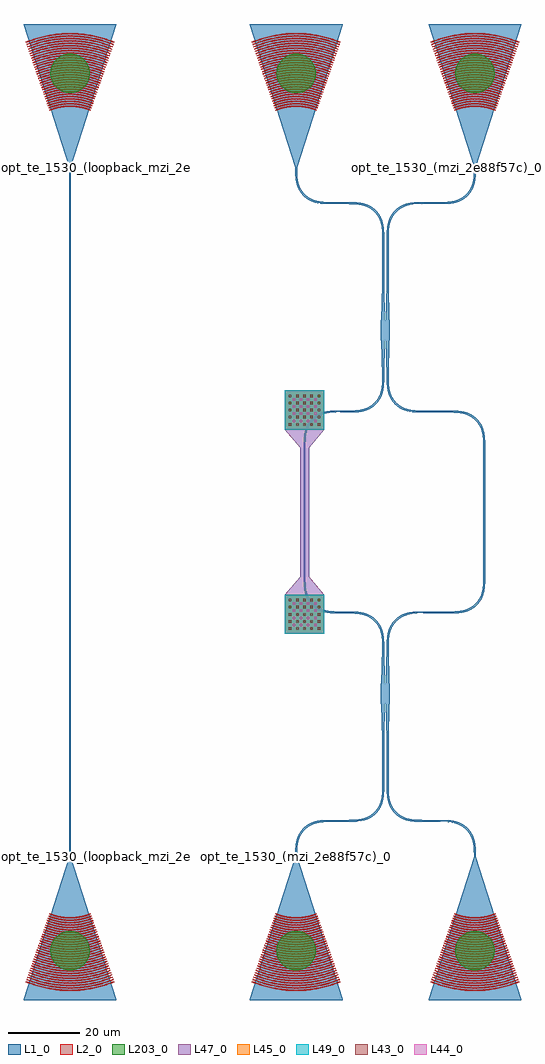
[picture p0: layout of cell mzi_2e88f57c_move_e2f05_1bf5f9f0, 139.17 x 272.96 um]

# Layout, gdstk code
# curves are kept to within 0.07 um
from math import pi, radians
import gdstk
lib = gdstk.Library(unit=1e-6, precision=1e-09)
def R(c, l, rs):  # rectangles x0, y0, x1, y1
    for r in rs: c.add(gdstk.rectangle(r[:2], r[2:], *l))
def P(c, l, *ps):  # polygons
    for p in ps: c.add(gdstk.Polygon(p, *l))
L1_0 = (1, 0)
L2_0 = (2, 0)
L43_0 = (43, 0)
L44_0 = (44, 0)
L45_0 = (45, 0)
L47_0 = (47, 0)
L49_0 = (49, 0)
L203_0 = (203, 0)

mmi2x2 = lib.new_cell('mmi2x2')
R(mmi2x2, L1_0, [(0,-1.25,5.5,1.25)])
P(mmi2x2, L1_0, [(-10,-0.375),(0,-0.125),(0,-1.125),(-10,-0.875)],
  [(-10,0.875),(0,1.125),(0,0.125),(-10,0.375)],
  [(15.5,0.375),(5.5,0.125),(5.5,1.125),(15.5,0.875)],
  [(15.5,-0.875),(5.5,-1.125),(5.5,-0.125),(15.5,-0.375)])

bend_euler_9e0718a0 = lib.new_cell('bend_euler_9e0718a0')
P(bend_euler_9e0718a0, L1_0, [(0,-0.25),(2.724,-0.165),(3.761,-0.026),(4.739,0.201),(5.691,0.544),(6.428,0.918),(7.158,1.402),(7.859,2.003),(8.479,2.689),(9.033,3.488),(9.456,4.309),(9.799,5.261),(10.026,6.239),(10.165,7.276),(10.25,10),(9.75,10),(9.634,7.004),(9.463,5.971),(9.18,4.971),(8.508,3.59),(7.575,2.425),(6.41,1.492),(5.029,0.82),(4.029,0.537),(2.996,0.366),(0,0.25)])

straight_a4be237b = lib.new_cell('straight_a4be237b')
R(straight_a4be237b, L1_0, [(0,-0.25,7,0.25)])

straight_6870e926 = lib.new_cell('straight_6870e926')
R(straight_6870e926, L1_0, [(0,-0.25,0.1,0.25)])

straight_fba69bc3 = lib.new_cell('straight_fba69bc3')
R(straight_fba69bc3, L1_0, [(0,-0.25,2,0.25)])

straight_1aa74c1c = lib.new_cell('straight_1aa74c1c')
R(straight_1aa74c1c, L1_0, [(0,-0.25,18.05,0.25)])
R(straight_1aa74c1c, L47_0, [(0,-1.25,18.05,1.25)])

component_sequence_45111 = lib.new_cell('component_sequence_45111566')
component_sequence_45111.add(gdstk.Reference(straight_1aa74c1c, (0,0)))
component_sequence_45111.add(gdstk.Reference(straight_1aa74c1c, (18.05,0)))

compass_8277d85c = lib.new_cell('compass_8277d85c')
R(compass_8277d85c, L47_0, [(-5.5,-5.5,5.5,5.5)])

compass_6419de30 = lib.new_cell('compass_6419de30')
R(compass_6419de30, L45_0, [(-5.5,-5.5,5.5,5.5)])

compass_0253aeff = lib.new_cell('compass_0253aeff')
R(compass_0253aeff, L49_0, [(-5.5,-5.5,5.5,5.5)])

via_ebd8e362 = lib.new_cell('via_ebd8e362')
R(via_ebd8e362, L44_0, [(-0.35,-0.35,0.35,0.35)])

via_fd13653e = lib.new_cell('via_fd13653e')
R(via_fd13653e, L43_0, [(-0.35,-0.35,0.35,0.35)])

via_stack_02e7e014 = lib.new_cell('via_stack_02e7e014')
via_stack_02e7e014.add(gdstk.Reference(compass_8277d85c, (0,0)))
via_stack_02e7e014.add(gdstk.Reference(compass_6419de30, (0,0)))
via_stack_02e7e014.add(gdstk.Reference(compass_0253aeff, (0,0)))
r = gdstk.Reference(via_ebd8e362, (-3,-3)); r.repetition = gdstk.Repetition(4, 4, v1=(2,0), v2=(0,2)); via_stack_02e7e014.add(r)
r = gdstk.Reference(via_fd13653e, (-4,-4)); r.repetition = gdstk.Repetition(5, 5, v1=(2,0), v2=(0,2)); via_stack_02e7e014.add(r)

taper_13d39a01 = lib.new_cell('taper_13d39a01')
P(taper_13d39a01, L47_0, [(0,5.5),(5,1.25),(5,-1.25),(0,-5.5)])

straight_heater_metal_u_ = lib.new_cell('straight_heater_metal_u_f37dff5c')
straight_heater_metal_u_.add(gdstk.Reference(component_sequence_45111, (0,0)))
straight_heater_metal_u_.add(gdstk.Reference(via_stack_02e7e014, (-10.5,0)))
straight_heater_metal_u_.add(gdstk.Reference(via_stack_02e7e014, (46.6,0)))
straight_heater_metal_u_.add(gdstk.Reference(taper_13d39a01, (-5,0)))
straight_heater_metal_u_.add(gdstk.Reference(taper_13d39a01, (41.1,0), rotation=pi))

straight_fa3a3f2f = lib.new_cell('straight_fa3a3f2f')
R(straight_fa3a3f2f, L1_0, [(0,-0.25,0.09,0.25)])

straight_c804d8bd = lib.new_cell('straight_c804d8bd')
R(straight_c804d8bd, L1_0, [(0,-0.25,2,0.25)])

straight_4ae164bc = lib.new_cell('straight_4ae164bc')
R(straight_4ae164bc, L1_0, [(0,-0.25,0.01,0.25)])

straight_d494dd99 = lib.new_cell('straight_d494dd99')
R(straight_d494dd99, L1_0, [(0,-0.25,36.09,0.25)])

straight_32d14105 = lib.new_cell('straight_32d14105')
R(straight_32d14105, L1_0, [(0,-0.25,7,0.25)])

mzi_2e88f57c = lib.new_cell('mzi_2e88f57c')
mzi_2e88f57c.add(gdstk.Reference(mmi2x2, (0,0)))
mzi_2e88f57c.add(gdstk.Reference(mmi2x2, (107.2,0), rotation=pi, x_reflection=True))
mzi_2e88f57c.add(gdstk.Reference(bend_euler_9e0718a0, (15.5,-0.625), x_reflection=True))
mzi_2e88f57c.add(gdstk.Reference(straight_a4be237b, (25.5,-10.625), rotation=3*pi/2))
mzi_2e88f57c.add(gdstk.Reference(bend_euler_9e0718a0, (25.5,-17.625), rotation=3*pi/2))
mzi_2e88f57c.add(gdstk.Reference(straight_6870e926, (35.5,-27.625)))
mzi_2e88f57c.add(gdstk.Reference(bend_euler_9e0718a0, (15.5,0.625)))
mzi_2e88f57c.add(gdstk.Reference(straight_fba69bc3, (25.5,10.625), rotation=pi/2))
mzi_2e88f57c.add(gdstk.Reference(bend_euler_9e0718a0, (35.5,22.625), rotation=pi))
mzi_2e88f57c.add(gdstk.Reference(straight_heater_metal_u_, (35.5,22.625)))
mzi_2e88f57c.add(gdstk.Reference(bend_euler_9e0718a0, (71.69,22.625), x_reflection=True))
mzi_2e88f57c.add(gdstk.Reference(bend_euler_9e0718a0, (81.69,10.625), rotation=3*pi/2))
mzi_2e88f57c.add(gdstk.Reference(straight_fa3a3f2f, (71.6,22.625)))
mzi_2e88f57c.add(gdstk.Reference(straight_c804d8bd, (81.69,12.625), rotation=3*pi/2))
mzi_2e88f57c.add(gdstk.Reference(straight_4ae164bc, (91.69,0.625)))
mzi_2e88f57c.add(gdstk.Reference(bend_euler_9e0718a0, (71.69,-27.625)))
mzi_2e88f57c.add(gdstk.Reference(bend_euler_9e0718a0, (81.69,-10.625), rotation=pi/2, x_reflection=True))
mzi_2e88f57c.add(gdstk.Reference(straight_d494dd99, (35.6,-27.625)))
mzi_2e88f57c.add(gdstk.Reference(straight_32d14105, (81.69,-17.625), rotation=pi/2))
mzi_2e88f57c.add(gdstk.Reference(straight_4ae164bc, (91.69,-0.625)))

mzi_2e88f57c_move_e2f053 = lib.new_cell('mzi_2e88f57c_move_e2f053e4')
mzi_2e88f57c_move_e2f053.add(gdstk.Reference(mzi_2e88f57c, (10,0.625)))

bend_euler = lib.new_cell('bend_euler')
P(bend_euler, L1_0, [(0,-0.25),(2.724,-0.165),(3.761,-0.026),(4.739,0.201),(5.691,0.544),(6.428,0.918),(7.158,1.402),(7.859,2.003),(8.479,2.689),(9.033,3.488),(9.456,4.309),(9.799,5.261),(10.026,6.239),(10.165,7.276),(10.25,10),(9.75,10),(9.634,7.004),(9.463,5.971),(9.18,4.971),(8.508,3.59),(7.575,2.425),(6.41,1.492),(5.029,0.82),(4.029,0.537),(2.996,0.366),(0,0.25)])

straight_0b9e1014 = lib.new_cell('straight_0b9e1014')
R(straight_0b9e1014, L1_0, [(0,-0.25,12.79,0.25)])

straight_9720d94c = lib.new_cell('straight_9720d94c')
R(straight_9720d94c, L1_0, [(0,-0.25,4.35,0.25)])

straight_1c2065ee = lib.new_cell('straight_1c2065ee')
R(straight_1c2065ee, L1_0, [(0,-0.25,0.01,0.25)])

straight_7f2b6b1a = lib.new_cell('straight_7f2b6b1a')
R(straight_7f2b6b1a, L1_0, [(0,-0.25,4.4,0.25)])

circle_925ccccf = lib.new_cell('circle_925ccccf')
P(circle_925ccccf, L203_0, [(5.5,0),(5.37,1.19),(5.081,2.105),(4.639,2.955),(3.889,3.889),(2.955,4.639),(2.105,5.081),(1.19,5.37),(0,5.5),(-1.19,5.37),(-2.105,5.081),(-2.955,4.639),(-3.889,3.889),(-4.639,2.955),(-5.081,2.105),(-5.37,1.19),(-5.5,0),(-5.37,-1.19),(-5.081,-2.105),(-4.639,-2.955),(-3.889,-3.889),(-2.955,-4.639),(-2.105,-5.081),(-1.19,-5.37),(0,-5.5),(1.19,-5.37),(2.105,-5.081),(2.955,-4.639),(3.889,-3.889),(4.639,-2.955),(5.081,-2.105),(5.37,-1.19)])

grating_coupler_ellipti_ = lib.new_cell('grating_coupler_ellipti_db285fcb')
P(grating_coupler_ellipti_, L1_0, [(0.471,-0.25),(0.471,0.25),(40.352,12.973),(40.552,12.973),(40.552,-12.973),(40.352,-12.973)])
P(grating_coupler_ellipti_, L2_0, [(16.414,-5.811),(16.301,-5.646),(16.82,-4.153),(17.178,-2.617),(17.352,-1.313),(17.409,0),(17.352,1.313),(17.178,2.617),(16.82,4.153),(16.301,5.646),(16.414,5.811),(16.61,5.769),(16.709,5.52),(17.063,4.504),(17.344,3.465),(17.627,1.877),(17.743,0),(17.627,-1.877),(17.344,-3.465),(17.063,-4.504),(16.709,-5.52),(16.61,-5.769)],
  [(17.047,-6.03),(16.933,-5.865),(17.473,-4.315),(17.845,-2.718),(18.025,-1.364),(18.085,0),(18.025,1.364),(17.845,2.718),(17.473,4.315),(16.933,5.865),(17.047,6.03),(17.243,5.989),(17.346,5.73),(17.713,4.675),(18.066,3.325),(18.33,1.671),(18.419,0),(18.33,-1.671),(18.066,-3.325),(17.713,-4.675),(17.346,-5.73),(17.243,-5.989)],
  [(17.68,-6.25),(17.566,-6.085),(18.126,-4.476),(18.512,-2.82),(18.699,-1.415),(18.761,0),(18.699,1.415),(18.512,2.82),(18.126,4.476),(17.566,6.085),(17.68,6.25),(17.876,6.208),(17.982,5.94),(18.363,4.846),(18.665,3.729),(18.97,2.02),(19.095,0),(18.97,-2.02),(18.665,-3.729),(18.363,-4.846),(17.982,-5.94),(17.876,-6.208)],
  [(18.313,-6.469),(18.199,-6.305),(18.779,-4.638),(19.179,-2.922),(19.373,-1.466),(19.437,0),(19.373,1.466),(19.179,2.922),(18.779,4.638),(18.199,6.305),(18.313,6.469),(18.509,6.428),(18.619,6.15),(19.013,5.018),(19.326,3.861),(19.676,1.794),(19.771,0),(19.676,-1.794),(19.326,-3.861),(19.013,-5.018),(18.619,-6.15),(18.509,-6.428)],
  [(18.946,-6.689),(18.832,-6.524),(19.432,-4.799),(19.846,-3.024),(20.047,-1.518),(20.113,0),(20.047,1.518),(19.846,3.024),(19.432,4.799),(18.832,6.524),(18.946,6.689),(19.141,6.647),(19.365,6.07),(19.752,4.892),(20.055,3.69),(20.348,1.855),(20.447,0),(20.348,-1.855),(20.055,-3.69),(19.752,-4.892),(19.365,-6.07),(19.141,-6.647)],
  [(19.579,-6.908),(19.465,-6.744),(20.085,-4.961),(20.513,-3.125),(20.72,-1.569),(20.789,0),(20.72,1.569),(20.513,3.125),(20.085,4.961),(19.465,6.744),(19.579,6.908),(19.774,6.867),(20.006,6.271),(20.405,5.054),(20.718,3.812),(21.021,1.916),(21.123,0),(21.021,-1.916),(20.718,-3.812),(20.405,-5.054),(20.006,-6.271),(19.774,-6.867)],
  [(20.212,-7.128),(20.098,-6.963),(20.738,-5.122),(21.18,-3.227),(21.394,-1.62),(21.465,0),(21.394,1.62),(21.18,3.227),(20.738,5.122),(20.098,6.963),(20.212,7.128),(20.407,7.086),(20.646,6.471),(21.058,5.215),(21.381,3.934),(21.694,1.978),(21.799,0),(21.694,-1.978),(21.381,-3.934),(21.058,-5.215),(20.646,-6.471),(20.407,-7.086)],
  [(20.844,-7.347),(20.731,-7.183),(21.391,-5.284),(21.847,-3.329),(22.068,-1.671),(22.141,0),(22.068,1.671),(21.847,3.329),(21.391,5.284),(20.731,7.183),(20.844,7.347),(21.04,7.306),(21.286,6.671),(21.711,5.377),(22.044,4.056),(22.367,2.039),(22.475,0),(22.367,-2.039),(22.044,-4.056),(21.711,-5.377),(21.286,-6.671),(21.04,-7.306)],
  [(21.477,-7.567),(21.364,-7.402),(22.044,-5.445),(22.514,-3.431),(22.742,-1.722),(22.817,0),(22.742,1.722),(22.514,3.431),(22.044,5.445),(21.364,7.402),(21.477,7.567),(21.673,7.525),(21.926,6.872),(22.364,5.538),(22.707,4.177),(23.039,2.1),(23.151,0),(23.039,-2.1),(22.707,-4.177),(22.364,-5.538),(21.926,-6.872),(21.673,-7.525)],
  [(22.11,-7.786),(21.997,-7.622),(22.697,-5.607),(23.181,-3.532),(23.415,-1.773),(23.493,0),(23.415,1.773),(23.181,3.532),(22.697,5.607),(21.997,7.622),(22.11,7.786),(22.306,7.745),(22.567,7.072),(23.017,5.7),(23.37,4.299),(23.712,2.161),(23.827,0),(23.712,-2.161),(23.37,-4.299),(23.017,-5.7),(22.567,-7.072),(22.306,-7.745)],
  [(22.743,-8.006),(22.629,-7.841),(23.35,-5.769),(23.848,-3.634),(24.089,-1.824),(24.169,0),(24.089,1.824),(23.848,3.634),(23.35,5.769),(22.629,7.841),(22.743,8.006),(22.939,7.964),(23.207,7.273),(23.67,5.861),(24.033,4.421),(24.385,2.223),(24.503,0),(24.385,-2.223),(24.033,-4.421),(23.67,-5.861),(23.207,-7.273),(22.939,-7.964)],
  [(23.376,-8.225),(23.262,-8.061),(24.004,-5.93),(24.515,-3.736),(24.763,-1.875),(24.845,0),(24.763,1.875),(24.515,3.736),(24.004,5.93),(23.262,8.061),(23.376,8.225),(23.572,8.184),(23.976,7.114),(24.323,6.023),(24.696,4.543),(25.058,2.284),(25.179,0),(25.058,-2.284),(24.696,-4.543),(24.323,-6.023),(23.976,-7.114),(23.572,-8.184)],
  [(24.009,-8.445),(23.895,-8.28),(24.657,-6.092),(25.182,-3.838),(25.437,-1.926),(25.521,0),(25.437,1.926),(25.182,3.838),(24.657,6.092),(23.895,8.28),(24.009,8.445),(24.205,8.403),(24.488,7.674),(24.976,6.184),(25.359,4.665),(25.73,2.345),(25.855,0),(25.73,-2.345),(25.359,-4.665),(24.976,-6.184),(24.488,-7.674),(24.205,-8.403)],
  [(24.642,-8.664),(24.528,-8.5),(25.31,-6.253),(25.849,-3.939),(26.11,-1.977),(26.197,0),(26.11,1.977),(25.849,3.939),(25.31,6.253),(24.528,8.5),(24.642,8.664),(24.838,8.623),(25.263,7.495),(25.63,6.346),(26.022,4.787),(26.403,2.406),(26.531,0),(26.403,-2.406),(26.022,-4.787),(25.63,-6.346),(25.263,-7.495),(24.838,-8.623)],
  [(25.275,-8.884),(25.161,-8.719),(25.963,-6.415),(26.516,-4.041),(26.784,-2.028),(26.873,0),(26.784,2.028),(26.516,4.041),(25.963,6.415),(25.161,8.719),(25.275,8.884),(25.47,8.842),(25.907,7.686),(26.283,6.507),(26.685,4.908),(26.913,3.693),(27.076,2.468),(27.207,0),(27.076,-2.468),(26.913,-3.693),(26.685,-4.908),(26.283,-6.507),(25.907,-7.686),(25.47,-8.842)],
  [(25.908,-9.103),(25.794,-8.939),(26.616,-6.576),(26.932,-5.367),(27.183,-4.143),(27.458,-2.079),(27.549,0),(27.458,2.079),(27.183,4.143),(26.932,5.367),(26.616,6.576),(25.794,8.939),(25.908,9.103),(26.103,9.062),(26.551,7.877),(27.05,6.262),(27.348,5.03),(27.582,3.785),(27.749,2.529),(27.849,1.266),(27.883,0),(27.849,-1.266),(27.749,-2.529),(27.582,-3.785),(27.348,-5.03),(27.05,-6.262),(26.551,-7.877),(26.103,-9.062)],
  [(26.54,-9.323),(26.427,-9.158),(26.88,-7.958),(27.269,-6.738),(27.593,-5.499),(27.85,-4.245),(28.132,-2.13),(28.225,0),(28.132,2.13),(27.85,4.245),(27.593,5.499),(27.269,6.738),(26.88,7.958),(26.427,9.158),(26.54,9.323),(26.736,9.281),(27.195,8.068),(27.706,6.414),(28.011,5.152),(28.25,3.876),(28.421,2.59),(28.524,1.297),(28.559,0),(28.524,-1.297),(28.421,-2.59),(28.25,-3.876),(28.011,-5.152),(27.706,-6.414),(27.195,-8.068),(26.736,-9.281)],
  [(27.173,-9.542),(27.06,-9.378),(27.524,-8.149),(27.922,-6.899),(28.253,-5.63),(28.517,-4.346),(28.805,-2.181),(28.901,0),(28.805,2.181),(28.517,4.346),(28.253,5.63),(27.922,6.899),(27.524,8.149),(27.06,9.378),(27.173,9.542),(27.369,9.501),(27.838,8.258),(28.242,6.992),(28.675,5.274),(28.919,3.968),(29.094,2.651),(29.199,1.328),(29.235,0),(29.199,-1.328),(29.094,-2.651),(28.919,-3.968),(28.675,-5.274),(28.242,-6.992),(27.838,-8.258),(27.369,-9.501)],
  [(27.806,-9.762),(27.693,-9.597),(28.168,-8.34),(28.575,-7.061),(28.914,-5.762),(29.184,-4.448),(29.479,-2.233),(29.577,0),(29.479,2.233),(29.184,4.448),(28.914,5.762),(28.575,7.061),(28.168,8.34),(27.693,9.597),(27.806,9.762),(28.002,9.72),(28.482,8.449),(28.895,7.153),(29.338,5.396),(29.588,4.06),(29.767,2.713),(29.875,1.358),(29.911,0),(29.875,-1.358),(29.767,-2.713),(29.588,-4.06),(29.338,-5.396),(28.895,-7.153),(28.482,-8.449),(28.002,-9.72)],
  [(28.439,-9.982),(28.325,-9.817),(28.811,-8.531),(29.228,-7.222),(29.575,-5.894),(29.851,-4.55),(30.153,-2.284),(30.253,0),(30.153,2.284),(29.851,4.55),(29.575,5.894),(29.228,7.222),(28.811,8.531),(28.325,9.817),(28.439,9.982),(28.635,9.94),(29.126,8.64),(29.548,7.315),(30.001,5.518),(30.256,4.151),(30.44,2.774),(30.55,1.389),(30.587,0),(30.55,-1.389),(30.44,-2.774),(30.256,-4.151),(30.001,-5.518),(29.673,-6.869),(29.126,-8.64),(28.635,-9.94)],
  [(29.072,-10.201),(28.958,-10.036),(29.455,-8.721),(29.881,-7.384),(30.236,-6.026),(30.518,-4.652),(30.827,-2.335),(30.929,0),(30.827,2.335),(30.518,4.652),(30.236,6.026),(29.881,7.384),(29.455,8.721),(28.958,10.036),(29.072,10.201),(29.268,10.159),(29.77,8.831),(30.329,7.02),(30.664,5.639),(30.925,4.243),(31.112,2.835),(31.225,1.42),(31.263,0),(31.225,-1.42),(31.112,-2.835),(30.925,-4.243),(30.664,-5.639),(30.329,-7.02),(29.77,-8.831),(29.268,-10.159)],
  [(29.705,-10.421),(29.591,-10.256),(30.099,-8.912),(30.534,-7.545),(30.897,-6.158),(31.185,-4.753),(31.5,-2.386),(31.605,0),(31.5,2.386),(31.185,4.753),(30.897,6.158),(30.534,7.545),(30.099,8.912),(29.591,10.256),(29.705,10.421),(29.901,10.379),(30.413,9.022),(30.985,7.172),(31.327,5.761),(31.594,4.335),(31.785,2.897),(31.9,1.45),(31.939,0),(31.9,-1.45),(31.785,-2.897),(31.594,-4.335),(31.327,-5.761),(30.985,-7.172),(30.413,-9.022),(29.901,-10.379)],
  [(30.338,-10.64),(30.224,-10.475),(30.743,-9.103),(31.187,-7.707),(31.558,-6.29),(31.852,-4.855),(32.174,-2.437),(32.281,0),(32.174,2.437),(31.852,4.855),(31.558,6.29),(31.187,7.707),(30.743,9.103),(30.224,10.475),(30.338,10.64),(30.534,10.598),(31.057,9.212),(31.507,7.799),(31.99,5.883),(32.263,4.426),(32.458,2.958),(32.575,1.481),(32.615,0),(32.575,-1.481),(32.458,-2.958),(32.263,-4.426),(31.99,-5.883),(31.507,-7.799),(31.057,-9.212),(30.534,-10.598)],
  [(30.971,-10.86),(30.857,-10.695),(31.386,-9.294),(31.84,-7.868),(32.218,-6.421),(32.519,-4.957),(32.848,-2.488),(32.957,0),(32.848,2.488),(32.519,4.957),(32.218,6.421),(31.84,7.868),(31.386,9.294),(30.857,10.695),(30.971,10.86),(31.166,10.818),(31.701,9.403),(32.16,7.961),(32.653,6.005),(32.931,4.518),(33.131,3.019),(33.251,1.512),(33.291,0),(33.251,-1.512),(33.131,-3.019),(32.931,-4.518),(32.653,-6.005),(32.16,-7.961),(31.701,-9.403),(31.166,-10.818)],
  [(31.604,-11.079),(31.49,-10.914),(32.03,-9.484),(32.493,-8.03),(32.879,-6.553),(33.186,-5.059),(33.522,-2.539),(33.633,0),(33.522,2.539),(33.186,5.059),(32.879,6.553),(32.493,8.03),(32.03,9.484),(31.49,10.914),(31.604,11.079),(31.799,11.038),(32.345,9.594),(32.952,7.627),(33.316,6.127),(33.6,4.61),(33.803,3.08),(33.926,1.542),(33.967,0),(33.926,-1.542),(33.803,-3.08),(33.6,-4.61),(33.316,-6.127),(32.952,-7.627),(32.345,-9.594),(31.799,-11.038)],
  [(32.236,-11.299),(32.123,-11.134),(32.674,-9.675),(33.146,-8.191),(33.54,-6.685),(33.853,-5.16),(34.195,-2.59),(34.309,0),(34.195,2.59),(33.853,5.16),(33.54,6.685),(33.146,8.191),(32.674,9.675),(32.123,11.134),(32.236,11.299),(32.432,11.257),(32.988,9.785),(33.608,7.779),(33.979,6.249),(34.269,4.702),(34.476,3.142),(34.601,1.573),(34.643,0),(34.601,-1.573),(34.476,-3.142),(34.269,-4.702),(33.979,-6.249),(33.608,-7.779),(32.988,-9.785),(32.432,-11.257)],
  [(32.869,-11.518),(32.756,-11.353),(33.318,-9.866),(33.8,-8.353),(34.201,-6.817),(34.52,-5.262),(34.869,-2.641),(34.985,0),(34.869,2.641),(34.52,5.262),(34.201,6.817),(33.8,8.353),(33.318,9.866),(32.756,11.353),(32.869,11.518),(33.065,11.477),(33.632,9.975),(34.264,7.93),(34.642,6.37),(34.937,4.793),(35.149,3.203),(35.276,1.604),(35.319,0),(35.276,-1.604),(35.149,-3.203),(34.937,-4.793),(34.642,-6.37),(34.264,-7.93),(33.632,-9.975),(33.065,-11.477)],
  [(33.502,-11.738),(33.389,-11.573),(33.961,-10.057),(34.453,-8.514),(34.862,-6.949),(35.187,-5.364),(35.543,-2.692),(35.661,0),(35.543,2.692),(35.187,5.364),(34.862,6.949),(34.453,8.514),(33.961,10.057),(33.389,11.573),(33.502,11.738),(33.698,11.696),(34.276,10.166),(34.92,8.082),(35.305,6.492),(35.606,4.885),(35.822,3.264),(35.951,1.634),(35.995,0),(35.951,-1.634),(35.822,-3.264),(35.606,-4.885),(35.305,-6.492),(34.92,-8.082),(34.276,-10.166),(33.698,-11.696)],
  [(34.135,-11.957),(34.022,-11.792),(34.605,-10.248),(35.106,-8.676),(35.523,-7.081),(35.854,-5.466),(36.216,-2.743),(36.337,0),(36.216,2.743),(35.854,5.466),(35.523,7.081),(35.106,8.676),(34.605,10.248),(34.022,11.792),(34.135,11.957),(34.331,11.916),(34.92,10.357),(35.426,8.769),(35.968,6.614),(36.275,4.977),(36.494,3.325),(36.626,1.665),(36.671,0),(36.626,-1.665),(36.494,-3.325),(36.275,-4.977),(35.968,-6.614),(35.426,-8.769),(34.92,-10.357),(34.331,-11.916)],
  [(34.768,-12.177),(34.654,-12.012),(35.249,-10.438),(35.759,-8.837),(36.183,-7.212),(36.521,-5.567),(36.89,-2.794),(37.013,0),(36.89,2.794),(36.521,5.567),(36.183,7.212),(35.759,8.837),(35.249,10.438),(34.654,12.012),(34.768,12.177),(34.964,12.135),(35.563,10.548),(36.079,8.93),(36.631,6.736),(36.944,5.068),(37.167,3.387),(37.302,1.696),(37.347,0),(37.302,-1.696),(37.167,-3.387),(36.944,-5.068),(36.631,-6.736),(36.079,-8.93),(35.563,-10.548),(34.964,-12.135)],
  [(35.401,-12.396),(35.287,-12.232),(35.893,-10.629),(36.412,-8.999),(36.844,-7.344),(37.188,-5.669),(37.564,-2.845),(37.689,0),(37.564,2.845),(37.188,5.669),(36.844,7.344),(36.412,8.999),(35.893,10.629),(35.287,12.232),(35.401,12.396),(35.597,12.355),(36.207,10.739),(36.732,9.092),(37.294,6.858),(37.612,5.16),(37.84,3.448),(37.977,1.726),(38.023,0),(37.977,-1.726),(37.84,-3.448),(37.612,-5.16),(37.294,-6.858),(36.732,-9.092),(36.207,-10.739),(35.597,-12.355)])
grating_coupler_ellipti_.add(gdstk.Reference(circle_925ccccf, (26.74,0)))

straight_45b03068 = lib.new_cell('straight_45b03068')
R(straight_45b03068, L1_0, [(0,-0.25,192.799,0.25)])

mzi_2e88f57c_move_e2f05_ = lib.new_cell('mzi_2e88f57c_move_e2f05_1bf5f9f0')
mzi_2e88f57c_move_e2f05_.add(gdstk.Reference(mzi_2e88f57c_move_e2f053, (0,0), rotation=pi/2))
mzi_2e88f57c_move_e2f05_.add(gdstk.Reference(bend_euler, (-1.25,-12.79), rotation=3*pi/2, x_reflection=True))
mzi_2e88f57c_move_e2f05_.add(gdstk.Reference(bend_euler, (-15.6,-22.79), rotation=pi))
mzi_2e88f57c_move_e2f05_.add(gdstk.Reference(straight_0b9e1014, (-1.25,0), rotation=3*pi/2))
mzi_2e88f57c_move_e2f05_.add(gdstk.Reference(straight_9720d94c, (-11.25,-22.79), rotation=pi))
mzi_2e88f57c_move_e2f05_.add(gdstk.Reference(straight_1c2065ee, (-25.6,-32.79), rotation=3*pi/2))
mzi_2e88f57c_move_e2f05_.add(gdstk.Reference(bend_euler, (0,-12.79), rotation=3*pi/2))
mzi_2e88f57c_move_e2f05_.add(gdstk.Reference(bend_euler, (14.4,-22.79), x_reflection=True))
mzi_2e88f57c_move_e2f05_.add(gdstk.Reference(straight_0b9e1014, (0,0), rotation=3*pi/2))
mzi_2e88f57c_move_e2f05_.add(gdstk.Reference(straight_7f2b6b1a, (10,-22.79)))
mzi_2e88f57c_move_e2f05_.add(gdstk.Reference(straight_1c2065ee, (24.4,-32.79), rotation=3*pi/2))
mzi_2e88f57c_move_e2f05_.add(gdstk.Reference(bend_euler, (0,139.99), rotation=pi/2, x_reflection=True))
mzi_2e88f57c_move_e2f05_.add(gdstk.Reference(bend_euler, (14.4,149.99)))
mzi_2e88f57c_move_e2f05_.add(gdstk.Reference(straight_0b9e1014, (0,127.2), rotation=pi/2))
mzi_2e88f57c_move_e2f05_.add(gdstk.Reference(straight_7f2b6b1a, (10,149.99)))
mzi_2e88f57c_move_e2f05_.add(gdstk.Reference(straight_1c2065ee, (24.4,159.99), rotation=pi/2))
mzi_2e88f57c_move_e2f05_.add(gdstk.Reference(bend_euler, (-1.25,139.99), rotation=pi/2))
mzi_2e88f57c_move_e2f05_.add(gdstk.Reference(bend_euler, (-15.6,149.99), rotation=pi, x_reflection=True))
mzi_2e88f57c_move_e2f05_.add(gdstk.Reference(straight_0b9e1014, (-1.25,127.2), rotation=pi/2))
mzi_2e88f57c_move_e2f05_.add(gdstk.Reference(straight_9720d94c, (-11.25,149.99), rotation=pi))
mzi_2e88f57c_move_e2f05_.add(gdstk.Reference(straight_1c2065ee, (-25.6,159.99), rotation=pi/2))
mzi_2e88f57c_move_e2f05_.add(gdstk.Reference(grating_coupler_ellipti_, (-25.6,-32.329), rotation=3*pi/2))
mzi_2e88f57c_move_e2f05_.add(gdstk.Reference(grating_coupler_ellipti_, (24.4,-32.329), rotation=3*pi/2))
mzi_2e88f57c_move_e2f05_.add(gdstk.Reference(grating_coupler_ellipti_, (24.4,159.529), rotation=pi/2))
mzi_2e88f57c_move_e2f05_.add(gdstk.Reference(grating_coupler_ellipti_, (-25.6,159.529), rotation=pi/2))
mzi_2e88f57c_move_e2f05_.add(gdstk.Reference(straight_45b03068, (-88.823,-32.8), rotation=pi/2))
mzi_2e88f57c_move_e2f05_.add(gdstk.Reference(grating_coupler_ellipti_, (-88.823,-32.329), rotation=3*pi/2))
mzi_2e88f57c_move_e2f05_.add(gdstk.Reference(grating_coupler_ellipti_, (-88.823,159.528), rotation=pi/2))
mzi_2e88f57c_move_e2f05_.add(gdstk.Label('opt_te_1530_(mzi_2e88f57c)_0_o2', (-25.6,-32.8), layer=201, texttype=0))
mzi_2e88f57c_move_e2f05_.add(gdstk.Label('opt_te_1530_(mzi_2e88f57c)_1_o1', (24.4,-32.8), layer=201, texttype=0))
mzi_2e88f57c_move_e2f05_.add(gdstk.Label('opt_te_1530_(mzi_2e88f57c)_0_o4', (24.4,160), layer=201, texttype=0))
mzi_2e88f57c_move_e2f05_.add(gdstk.Label('opt_te_1530_(mzi_2e88f57c)_1_o3', (-25.6,160), layer=201, texttype=0))
mzi_2e88f57c_move_e2f05_.add(gdstk.Label('opt_te_1530_(loopback_mzi_2e88f57c)_0_o2', (-88.823,159.999), layer=201, texttype=0))
mzi_2e88f57c_move_e2f05_.add(gdstk.Label('opt_te_1530_(loopback_mzi_2e88f57c)_1_o1', (-88.823,-32.8), layer=201, texttype=0))

lib.write_gds('mzi_2e88f57c_move_e2f05_1bf5f9f0.gds')
